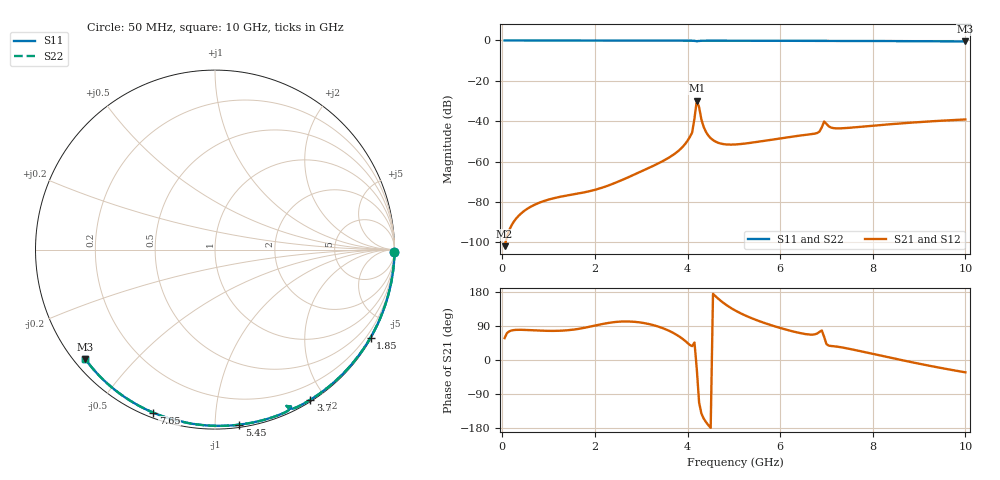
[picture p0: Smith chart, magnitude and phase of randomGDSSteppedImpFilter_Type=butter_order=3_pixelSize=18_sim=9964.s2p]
! freq	dB(S11)	phase(S11)	dB(S12)	phase(S12)
!  dB(S21)	phase(S21)	dB(S22)	phase(S22)
!S-par simulation data
#  GHz  S  DB  R 50
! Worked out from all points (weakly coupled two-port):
!   200 points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, 50 MHz to 10 GHz, reference 50 ohm
!   highest |S21| = -29.77 dB at 4.2 GHz (marker M1); lowest = -101.9 dB at 50 MHz (marker M2)
!   lowest |S11| = -0.5 dB at 10 GHz (marker M3), VSWR 35.95, Z = 1.58 - j18.3 ohm
!   |S11| at or under -10 dB: nowhere
!   |S22| runs from -0.5 to 0.0 dB; largest |S21 - S12| = 0
!   S11 on the Smith chart (normalised r, x): 50 MHz: open; 1.85 GHz: 0.03, -3.80; 3.7 GHz: 0.02, -1.82; 5.45 GHz: 0.02, -1.15; 7.65 GHz: 0.02, -0.69; 10 GHz: 0.03, -0.37
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0.05  -0.00 -0.8  -101.88 57.8  -101.88 57.8  -0.00 -0.8
0.85  -0.02 -13.7  -79.91 77.4  -79.91 77.4  -0.02 -13.7
1.75  -0.04 -27.9  -75.32 84.4  -75.32 84.4  -0.04 -27.9
1.85  -0.04 -29.5  -74.84 86.8  -74.84 86.8  -0.04 -29.5
2.4  -0.05 -38.0  -70.89 99.8  -70.89 99.8  -0.05 -38.0
3.4  -0.07 -53.1  -60.52 86.9  -60.52 86.9  -0.07 -53.1
3.7  -0.08 -57.6  -56.50 71.0  -56.50 71.0  -0.08 -57.6
3.95  -0.09 -61.4  -51.23 50.3  -51.23 50.3  -0.09 -61.4
4.1  -0.12 -64.0  -45.59 36.7  -45.59 36.7  -0.12 -64.0
4.2  -0.38 -65.4  -29.77 -24.0  -29.77 -24.0  -0.38 -65.5
4.35  -0.12 -66.3  -42.92 -154.7  -42.92 -154.7  -0.12 -66.3
4.45  -0.11 -67.9  -47.13 -172.0  -47.13 -172.0  -0.11 -67.9
4.7  -0.11 -71.6  -50.96 157.9  -50.96 157.9  -0.11 -71.6
5.05  -0.12 -76.6  -51.48 129.4  -51.48 129.4  -0.12 -76.6
5.45  -0.13 -82.1  -50.42 107.1  -50.42 107.1  -0.13 -82.1
6.7  -0.19 -98.7  -46.34 66.9  -46.34 66.9  -0.19 -98.7
6.85  -0.21 -100.7  -45.10 74.2  -45.10 74.2  -0.21 -100.7
6.95  -0.25 -101.8  -40.14 61.0  -40.14 61.0  -0.25 -101.8
7.15  -0.22 -104.3  -43.40 36.4  -43.40 36.4  -0.22 -104.3
7.65  -0.25 -110.7  -42.95 25.5  -42.95 25.5  -0.25 -110.7
8.35  -0.31 -119.4  -41.54 6.8  -41.54 6.8  -0.31 -119.4
10  -0.48 -139.7  -39.12 -32.5  -39.12 -32.5  -0.48 -139.7
